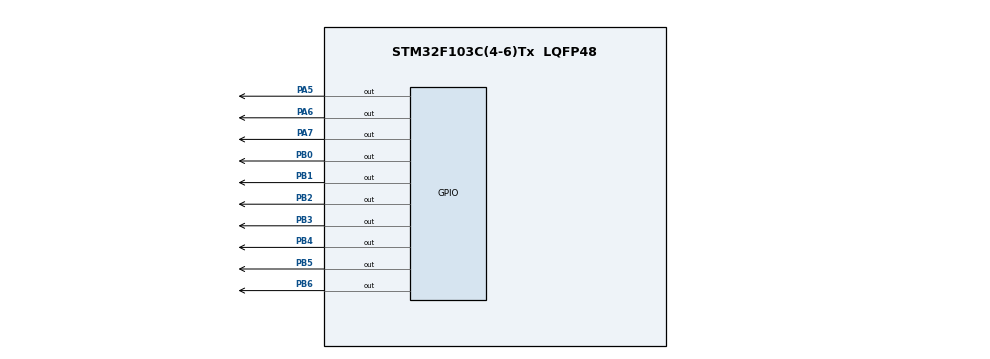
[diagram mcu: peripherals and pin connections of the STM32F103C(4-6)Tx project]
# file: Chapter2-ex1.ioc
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Mcu.Family=STM32F1
Mcu.Name=STM32F103C(4-6)Tx
Mcu.Package=LQFP48
NVIC.PriorityGroup=NVIC_PRIORITYGROUP_4
NVIC.TIM2_IRQn=true\:0\:0\:false\:false\:true\:true\:true
PA5.Signal=GPIO_Output
PA6.Signal=GPIO_Output
PA7.Signal=GPIO_Output
PB0.Signal=GPIO_Output
PB1.Signal=GPIO_Output
PB2.Signal=GPIO_Output
PB3.Signal=GPIO_Output
PB4.Signal=GPIO_Output
PB5.Signal=GPIO_Output
PB6.Signal=GPIO_Output
ProjectManager.HeapSize=0x200
ProjectManager.StackSize=0x400
ProjectManager.TargetToolchain=STM32CubeIDE
RCC.APB1Freq_Value=8000000
RCC.APB2Freq_Value=8000000
TIM2.AutoReloadPreload=TIM_AUTORELOAD_PRELOAD_ENABLE
TIM2.Period=9
TIM2.Prescaler=7999
VP_SYS_VS_ND.Mode=No_Debug
VP_TIM2_VS_ClockSourceINT.Mode=Internal
board=custom

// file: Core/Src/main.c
/* USER CODE BEGIN Header */
/**
  ******************************************************************************
  * @file           : main.c
  * @brief          : Main program body
  ******************************************************************************
  * @attention
  *
  * <h2><center>&copy; Copyright (c) 2021 STMicroelectronics.
  * All rights reserved.</center></h2>
  *
  * This software component is licensed by ST under BSD 3-Clause license,
  * the "License"; You may not use this file except in compliance with the
  * License. You may obtain a copy of the License at:
  *                        opensource.org/licenses/BSD-3-Clause
  *
  ******************************************************************************
  */
/* USER CODE END Header */
#include "main.h"

TIM_HandleTypeDef htim2;

void SystemClock_Config(void);
static void MX_TIM2_Init(void);
static void MX_GPIO_Init(void);

int main(void)
{

  /* MCU Configuration--------------------------------------------------------*/

  /* Reset of all peripherals, Initializes the Flash interface and the Systick. */
  HAL_Init();

  /* Configure the system clock */
  SystemClock_Config();

  /* Initialize all configured peripherals */
  MX_TIM2_Init();
  MX_GPIO_Init();
  /* USER CODE BEGIN 2 */
  HAL_TIM_Base_Start_IT(&htim2);
  /* USER CODE END 2 */

  /* Infinite loop */
  while (1)
  {

  }
}

void SystemClock_Config(void)
{
  RCC_OscInitTypeDef RCC_OscInitStruct = {0};
  RCC_ClkInitTypeDef RCC_ClkInitStruct = {0};

  /** Initializes the RCC Oscillators according to the specified parameters
  * in the RCC_OscInitTypeDef structure.
  */
  RCC_OscInitStruct.OscillatorType = RCC_OSCILLATORTYPE_HSI;
  RCC_OscInitStruct.HSIState = RCC_HSI_ON;
  RCC_OscInitStruct.HSICalibrationValue = RCC_HSICALIBRATION_DEFAULT;
  RCC_OscInitStruct.PLL.PLLState = RCC_PLL_NONE;
  if (HAL_RCC_OscConfig(&RCC_OscInitStruct) != HAL_OK)
  {
    Error_Handler();
  }
  /** Initializes the CPU, AHB and APB buses clocks
  */
  RCC_ClkInitStruct.ClockType = RCC_CLOCKTYPE_HCLK|RCC_CLOCKTYPE_SYSCLK
                              |RCC_CLOCKTYPE_PCLK1|RCC_CLOCKTYPE_PCLK2;
  RCC_ClkInitStruct.SYSCLKSource = RCC_SYSCLKSOURCE_HSI;
  RCC_ClkInitStruct.AHBCLKDivider = RCC_SYSCLK_DIV1;
  RCC_ClkInitStruct.APB1CLKDivider = RCC_HCLK_DIV1;
  RCC_ClkInitStruct.APB2CLKDivider = RCC_HCLK_DIV1;

  if (HAL_RCC_ClockConfig(&RCC_ClkInitStruct, FLASH_LATENCY_0) != HAL_OK)
  {
    Error_Handler();
  }
}

static void MX_TIM2_Init(void)
{

  TIM_ClockConfigTypeDef sClockSourceConfig = {0};
  TIM_MasterConfigTypeDef sMasterConfig = {0};

  htim2.Instance = TIM2;
  htim2.Init.Prescaler = 7999;
  htim2.Init.CounterMode = TIM_COUNTERMODE_UP;
  htim2.Init.Period = 9;
  htim2.Init.ClockDivision = TIM_CLOCKDIVISION_DIV1;
  htim2.Init.AutoReloadPreload = TIM_AUTORELOAD_PRELOAD_ENABLE;
  if (HAL_TIM_Base_Init(&htim2) != HAL_OK)
  {
    Error_Handler();
  }
  sClockSourceConfig.ClockSource = TIM_CLOCKSOURCE_INTERNAL;
  if (HAL_TIM_ConfigClockSource(&htim2, &sClockSourceConfig) != HAL_OK)
  {
    Error_Handler();
  }
  sMasterConfig.MasterOutputTrigger = TIM_TRGO_RESET;
  sMasterConfig.MasterSlaveMode = TIM_MASTERSLAVEMODE_DISABLE;
  if (HAL_TIMEx_MasterConfigSynchronization(&htim2, &sMasterConfig) != HAL_OK)
  {
    Error_Handler();
  }

}

static void MX_GPIO_Init(void)
{
  GPIO_InitTypeDef GPIO_InitStruct = {0};

  /* GPIO Ports Clock Enable */
  __HAL_RCC_GPIOA_CLK_ENABLE();
  __HAL_RCC_GPIOB_CLK_ENABLE();

  /*Configure GPIO pin Output Level */
  HAL_GPIO_WritePin(GPIOA, GPIO_PIN_5|GPIO_PIN_6|GPIO_PIN_7, GPIO_PIN_RESET);

  /*Configure GPIO pin Output Level */
  HAL_GPIO_WritePin(GPIOB, GPIO_PIN_0|GPIO_PIN_1|GPIO_PIN_2|GPIO_PIN_3
                          |GPIO_PIN_4|GPIO_PIN_5|GPIO_PIN_6, GPIO_PIN_RESET);

  /*Configure GPIO pins : PA5 PA6 PA7 */
  GPIO_InitStruct.Pin = GPIO_PIN_5|GPIO_PIN_6|GPIO_PIN_7;
  GPIO_InitStruct.Mode = GPIO_MODE_OUTPUT_PP;
  GPIO_InitStruct.Pull = GPIO_NOPULL;
  GPIO_InitStruct.Speed = GPIO_SPEED_FREQ_LOW;
  HAL_GPIO_Init(GPIOA, &GPIO_InitStruct);

  /*Configure GPIO pins : PB0 PB1 PB2 PB3
                           PB4 PB5 PB6 */
  GPIO_InitStruct.Pin = GPIO_PIN_0|GPIO_PIN_1|GPIO_PIN_2|GPIO_PIN_3
                          |GPIO_PIN_4|GPIO_PIN_5|GPIO_PIN_6;
  GPIO_InitStruct.Mode = GPIO_MODE_OUTPUT_PP;
  GPIO_InitStruct.Pull = GPIO_NOPULL;
  GPIO_InitStruct.Speed = GPIO_SPEED_FREQ_LOW;
  HAL_GPIO_Init(GPIOB, &GPIO_InitStruct);

}

/* USER CODE BEGIN 4 */
void display7SEG(int num) {

	HAL_GPIO_WritePin(SEG_PORT, SEG0 | SEG1 | SEG2 | SEG3 | SEG4 | SEG5 | SEG6, 1);
		switch(num) {
		case 0:
			HAL_GPIO_WritePin(SEG_PORT, SEG0 | SEG1 | SEG2 | SEG3 | SEG4 | SEG5, 0);
			break;
		case 1:
			HAL_GPIO_WritePin(SEG_PORT, SEG1 | SEG2, 0);
			break;
		case 2:
			HAL_GPIO_WritePin(SEG_PORT, SEG0 | SEG1 | SEG3 | SEG4 | SEG6, 0);
			break;
		case 3:
			HAL_GPIO_WritePin(SEG_PORT, SEG0 | SEG1 | SEG2 | SEG3 | SEG6, 0);
			break;
		case 4:
			HAL_GPIO_WritePin(SEG_PORT, SEG1 | SEG2 | SEG5 | SEG6, 0);
			break;
		case 5:
			HAL_GPIO_WritePin(SEG_PORT, SEG0 | SEG2 | SEG3 | SEG5 | SEG6, 0);
			break;
		case 6:
			HAL_GPIO_WritePin(SEG_PORT, SEG0 | SEG2 | SEG3 | SEG4 | SEG5 | SEG6, 0);
			break;
		case 7:
			HAL_GPIO_WritePin(SEG_PORT, SEG0 | SEG1 | SEG2, 0);
			break;
		case 8:
			HAL_GPIO_WritePin(SEG_PORT, SEG0 | SEG1 | SEG2 | SEG3 | SEG4 | SEG5 | SEG6, 0);
			break;
		case 9:
			HAL_GPIO_WritePin(SEG_PORT, SEG0 | SEG1 | SEG2 | SEG3 | SEG5 | SEG6, 0);
			break;
		}
}

int counter = 1;
int counter2 = 1;
int led = 0;
void HAL_TIM_PeriodElapsedCallback(TIM_HandleTypeDef*htim) {
	counter--;
	counter2--;
	if(counter == 0) {
		counter = 100;
		HAL_GPIO_TogglePin(RLED_PORT, RLED1);
	}
	if(counter2 == 0) {
		counter2 = 50;
		if(led == 0) {
			led = 1;

			display7SEG(1);
			HAL_GPIO_WritePin(EN_PORT, EN0, 0);
			HAL_GPIO_WritePin(EN_PORT, EN1, 1);
		}
		else if(led == 1){
			led = 0;

			display7SEG(2);
			HAL_GPIO_WritePin(EN_PORT, EN0, 1);
			HAL_GPIO_WritePin(EN_PORT, EN1, 0);
		}
	}
}
/* USER CODE END 4 */

void Error_Handler(void)
{
  __disable_irq();
  while (1)
  {
  }
}

/************************ (C) COPYRIGHT STMicroelectronics *****END OF FILE****/
